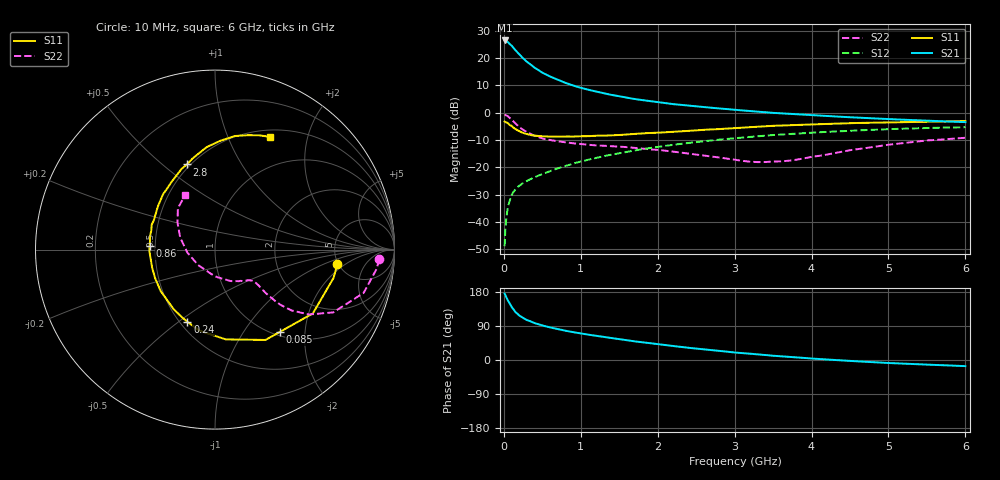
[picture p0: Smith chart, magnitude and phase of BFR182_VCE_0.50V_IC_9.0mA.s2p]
! Infineon Technologies  Discrete & RF Semiconductors
! BFR182
! VCE = 0.50 V,  IC =  9.0 mA
! Common Emitter S-Parameters:  Nov 2015
# GHz  S  MA  R  50
!  f  S11  S21  S12  S22
! GHz  MAG  ANG  MAG  ANG  MAG  ANG  MAG  ANG
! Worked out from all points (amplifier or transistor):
!   210 points, 10 MHz to 6 GHz, reference 50 ohm
!   highest |S21| = 26.4 dB at 10 MHz (marker M1)
!   |S21| within 3 dB of that: start of sweep to 133.2 MHz
!   unconditionally stable (mu >= 1): 470.9 MHz to end of sweep
!   at 185 MHz: K = 0.59, MSG = 24.5 dB, |S12| = -27.1 dB
!   at 1.52 GHz: K = 1.20, MAG = 7.6 dB, |S12| = -14.7 dB
!   at 6 GHz: K = 1.04, MAG = -0.3 dB, |S12| = -5.3 dB
!   S11 on the Smith chart (normalised r, x): 10 MHz: 4.88, -1.52; 85 MHz: 1.06, -1.48; 240 MHz: 0.55, -0.54; 860 MHz: 0.47, +0.02; 2.8 GHz: 0.48, +0.61; 6 GHz: 0.59, +1.44
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0.01  0.6862 -6.9  20.88 175.5  0.0036 82.9  0.9163 -3.4
0.02  0.6792 -13.4  20.66 170.7  0.0075 81.7  0.9076 -6.7
0.05  0.651 -33.1  19.7 157.8  0.0176 74.3  0.8629 -16.2
0.085  0.5837 -51.9  17.52 146.1  0.0269 66.7  0.7771 -24.1
0.1  0.5767 -60.8  16.85 140.2  0.0309 64.8  0.7456 -28.0
0.15  0.504 -83.1  13.89 126.6  0.0397 58.4  0.6349 -34.7
0.2  0.4603 -100.7  11.62 117.4  0.0458 56.1  0.5446 -38.5
0.24  0.4306 -110.9  10.18 112.1  0.0503 55.4  0.4941 -39.7
0.3  0.4044 -124.6  8.503 105.3  0.0562 55.7  0.4397 -40.5
0.4  0.381 -142.5  6.619 97.3  0.0657 56.5  0.3751 -40.6
0.42  0.3775 -144.8  6.366 96.2  0.0676 56.8  0.3672 -40.5
0.5  0.3698 -154.5  5.379 91.0  0.075 57.9  0.3356 -39.9
0.6  0.3644 -163.8  4.58 86.0  0.0852 58.9  0.3147 -39.4
0.86  0.3646 176.9  3.268 75.1  0.1123 60.4  0.2792 -39.4
1.02  0.3698 167.0  2.794 69.5  0.1293 60.6  0.2637 -40.7
1.4  0.3835 150.5  2.106 57.9  0.1701 58.9  0.2421 -45.7
2.02  0.4301 129.0  1.541 41.3  0.2378 53.9  0.2068 -58.8
2.8  0.4994 108.2  1.195 24.1  0.3203 45.3  0.1512 -87.9
3.1  0.531 102.0  1.096 18.3  0.3493 41.4  0.131 -105.6
4.1  0.6137 85.6  0.883 2.7  0.4369 28.6  0.1619 180.0
5.1  0.6659 73.1  0.75 -8.7  0.5031 15.9  0.2673 141.3
6  0.699 63.9  0.669 -16.2  0.5406 4.2  0.3463 118.8
